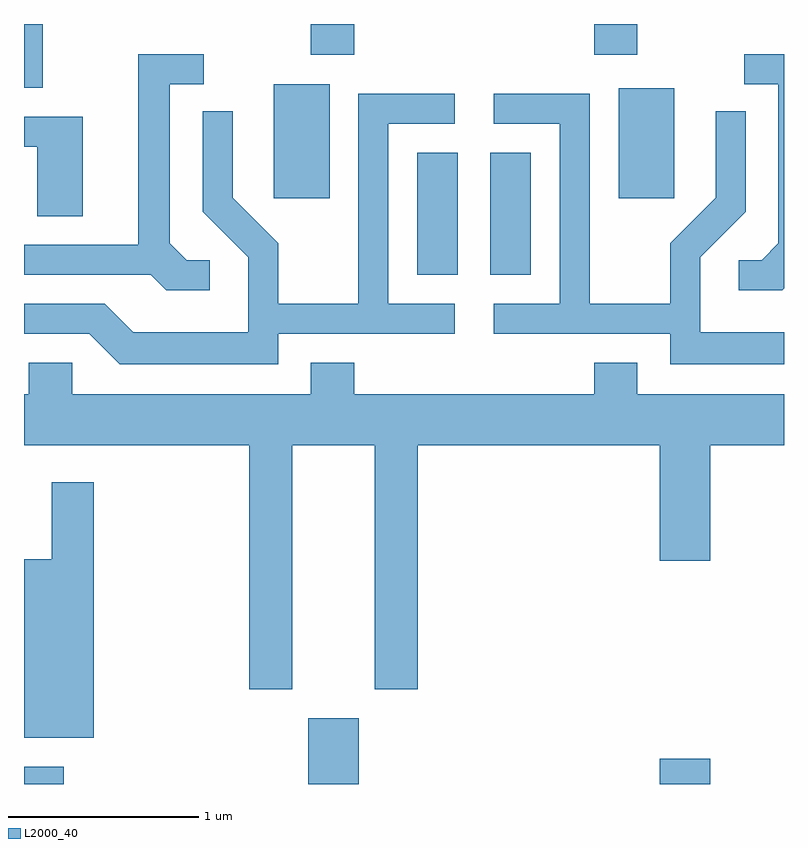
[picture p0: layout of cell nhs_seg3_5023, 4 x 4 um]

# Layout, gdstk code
import gdstk
lib = gdstk.Library(unit=1e-6, precision=1e-09)
def R(c, l, rs):  # rectangles x0, y0, x1, y1
    for r in rs: c.add(gdstk.rectangle(r[:2], r[2:], *l))
def P(c, l, *ps):  # polygons
    for p in ps: c.add(gdstk.Polygon(p, *l))
L2000_40 = (2000, 40)

nhs_seg3_5023 = lib.new_cell('nhs_seg3_5023')
R(nhs_seg3_5023, L2000_40, [(331.611,1241.892,331.819,1241.984), (333.106,1241.892,333.374,1242.239), (334.956,1241.892,335.224,1242.024), (333.681,1244.571,333.894,1245.214), (334.066,1244.571,334.279,1245.214), (332.926,1244.976,333.219,1245.574), (334.741,1244.976,335.034,1245.554), (331.611,1245.556,331.709,1245.892), (333.121,1245.731,333.349,1245.892), (334.611,1245.731,334.839,1245.892)])
P(nhs_seg3_5023, L2000_40, [(335.611,1244.5),(335.611,1245.734),(335.403,1245.734),(335.403,1245.576),(335.581,1245.576),(335.581,1244.737),(335.494,1244.649),(335.373,1244.649),(335.373,1244.491),(335.602,1244.491)],
  [(332.588,1244.649),(332.467,1244.649),(332.379,1244.737),(332.379,1245.576),(332.558,1245.576),(332.558,1245.734),(332.211,1245.734),(332.211,1244.729),(331.611,1244.729),(331.611,1244.571),(332.279,1244.571),(332.359,1244.491),(332.588,1244.491)],
  [(332.949,1244.261),(333.878,1244.261),(333.878,1244.419),(333.529,1244.419),(333.529,1245.366),(333.878,1245.366),(333.878,1245.524),(333.371,1245.524),(333.371,1244.419),(332.949,1244.419),(332.949,1244.737),(332.709,1244.977),(332.709,1245.433),(332.551,1245.433),(332.551,1244.904),(332.791,1244.664),(332.791,1244.269),(332.187,1244.269),(332.037,1244.419),(331.611,1244.419),(331.611,1244.261),(331.954,1244.261),(332.114,1244.101),(332.949,1244.101)],
  [(335.611,1244.269),(335.169,1244.269),(335.169,1244.664),(335.409,1244.904),(335.409,1245.433),(335.251,1245.433),(335.251,1244.977),(335.011,1244.737),(335.011,1244.419),(334.589,1244.419),(334.589,1245.524),(334.083,1245.524),(334.083,1245.366),(334.431,1245.366),(334.431,1244.419),(334.083,1244.419),(334.083,1244.261),(335.011,1244.261),(335.011,1244.101),(335.611,1244.101)],
  [(331.919,1245.404),(331.611,1245.404),(331.611,1245.246),(331.681,1245.246),(331.681,1244.881),(331.919,1244.881)],
  [(333.024,1243.676),(333.456,1243.676),(333.456,1242.391),(333.684,1242.391),(333.684,1243.676),(334.956,1243.676),(334.956,1243.066),(335.224,1243.066),(335.224,1243.676),(335.611,1243.676),(335.611,1243.944),(334.839,1243.944),(334.839,1244.109),(334.611,1244.109),(334.611,1243.944),(333.349,1243.944),(333.349,1244.109),(333.121,1244.109),(333.121,1243.944),(331.864,1243.944),(331.864,1244.109),(331.636,1244.109),(331.636,1243.944),(331.611,1243.944),(331.611,1243.676),(332.796,1243.676),(332.796,1242.391),(333.024,1242.391)],
  [(331.979,1243.479),(331.756,1243.479),(331.756,1243.074),(331.611,1243.074),(331.611,1242.136),(331.979,1242.136)])

lib.write_gds('nhs_seg3_5023.gds')
